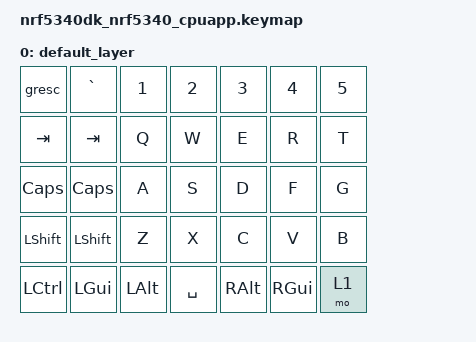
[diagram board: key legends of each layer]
/*
 * Copyright (c) 2021 Marco Sterbik
 *
 * SPDX-License-Identifier: MIT
 */

#include <behaviors.dtsi>
#include <dt-bindings/zmk/keys.h>
#include <dt-bindings/zmk/rgb.h>
#include <dt-bindings/zmk/bt.h>

/ {
	keymap {
		compatible = "zmk,keymap";
		
		default_layer {
// -------------------------------------------
// | ESC  |  `   |  1  |  2  |  3  |  4  |  5  |
// | TAB  | TAB  |  Q  |  W  |  E  |  R  |  T  |
// | CAPS | CAPS |  A  |  S  |  D  |  F  |  G  |
// | SHIFT| SHIFT|  Z  |  X  |  C  |  V  |  B  |
// |  CTL  |  WIN  |  ALT  |            SPACE              |  ALT  |  WIN  |  MO(1) |  CTL  |
// ------------------------------------------------------------------------------------------
			bindings = <
	&gresc    &kp GRAVE &kp N1    &kp N2    &kp N3   &kp N4   &kp N5
	&kp TAB   &kp TAB   &kp Q     &kp W     &kp E    &kp R    &kp T
	&kp CLCK  &kp CLCK  &kp A     &kp S     &kp D    &kp F    &kp G
	&kp LSHFT &kp LSHFT &kp Z     &kp X     &kp C    &kp V    &kp B
	&kp LCTRL &kp LGUI  &kp LALT  &kp SPACE &kp RALT &kp RGUI &mo 1
			>;
		};
	};
};
